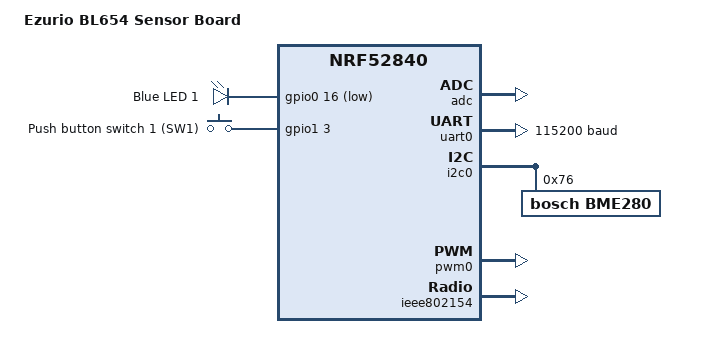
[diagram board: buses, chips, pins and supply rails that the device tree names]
/*
 * Copyright (c) 2021 Laird Connectivity
 * Copyright (c) 2024 Ezurio
 *
 * SPDX-License-Identifier: Apache-2.0
 */

/dts-v1/;
#include <nordic/nrf52840_qiaa.dtsi>
#include "bl654_sensor_board-pinctrl.dtsi"
#include <zephyr/dt-bindings/input/input-event-codes.h>

/ {
	model = "Ezurio BL654 Sensor Board";
	compatible = "ezurio,bl654-sensor-board";

	chosen {
		zephyr,console = &uart0;
		zephyr,shell-uart = &uart0;
		zephyr,uart-mcumgr = &uart0;
		zephyr,bt-mon-uart = &uart0;
		zephyr,bt-c2h-uart = &uart0;
		zephyr,sram = &sram0;
		zephyr,flash = &flash0;
		zephyr,code-partition = &slot0_partition;
		zephyr,ieee802154 = &ieee802154;
	};

	leds {
		compatible = "gpio-leds";

		led1: led_1 {
			gpios = <&gpio0 16 GPIO_ACTIVE_LOW>;
			label = "Blue LED 1";
		};
	};

	buttons {
		compatible = "gpio-keys";

		button1: button_1 {
			gpios = <&gpio1 3 GPIO_ACTIVE_HIGH>;
			label = "Push button switch 1 (SW1)";
			zephyr,code = <INPUT_KEY_0>;
		};
	};

	/* These aliases are provided for compatibility with samples */
	aliases {
		led0 = &led1;
		sw0 = &button1;
		mcuboot-button0 = &button1;
		mcuboot-led0 = &led1;
		watchdog0 = &wdt0;
	};
};

&reg1 {
	regulator-initial-mode = <NRF5X_REG_MODE_DCDC>;
};

&adc {
	status = "okay";
};

&uicr {
	gpio-as-nreset;
};

&gpiote {
	status = "okay";
};

&gpio0 {
	status = "okay";
};

&gpio1 {
	status = "okay";
};

&uart0 {
	compatible = "nordic,nrf-uart";
	current-speed = <115200>;
	status = "okay";
	pinctrl-0 = <&uart0_default>;
	pinctrl-1 = <&uart0_sleep>;
	pinctrl-names = "default", "sleep";
};

&i2c0 {
	compatible = "nordic,nrf-twi";
	status = "okay";

	pinctrl-0 = <&i2c0_default>;
	pinctrl-1 = <&i2c0_sleep>;
	pinctrl-names = "default", "sleep";

	bme280@76 {
		compatible = "bosch,bme280";
		status = "okay";
		reg = <0x76>;
	};
};

&pwm0 {
	status = "okay";
	pinctrl-0 = <&pwm0_default>;
	pinctrl-1 = <&pwm0_sleep>;
	pinctrl-names = "default", "sleep";
};

&ieee802154 {
	status = "okay";
};

&flash0 {
	partitions {
		compatible = "fixed-partitions";
		#address-cells = <1>;
		#size-cells = <1>;

		boot_partition: partition@0 {
			label = "mcuboot";
			reg = <0x00000000 0x00010000>;
		};

		slot0_partition: partition@10000 {
			label = "image-0";
			reg = <0x00010000 0x00070000>;
		};

		slot1_partition: partition@80000 {
			label = "image-1";
			reg = <0x00080000 0x00070000>;
		};

		scratch_partition: partition@f0000 {
			label = "image-scratch";
			reg = <0x000f0000 0x00008000>;
		};

		/*
		 * The flash starting at 0x000f8000 and ending at
		 * 0x000fffff is reserved for use by the application.
		 */

		/*
		 * Storage partition will be used by FCB/LittleFS/NVS
		 * if enabled.
		 */
		storage_partition: partition@f8000 {
			label = "storage";
			reg = <0x000f8000 0x00008000>;
		};
	};
};
